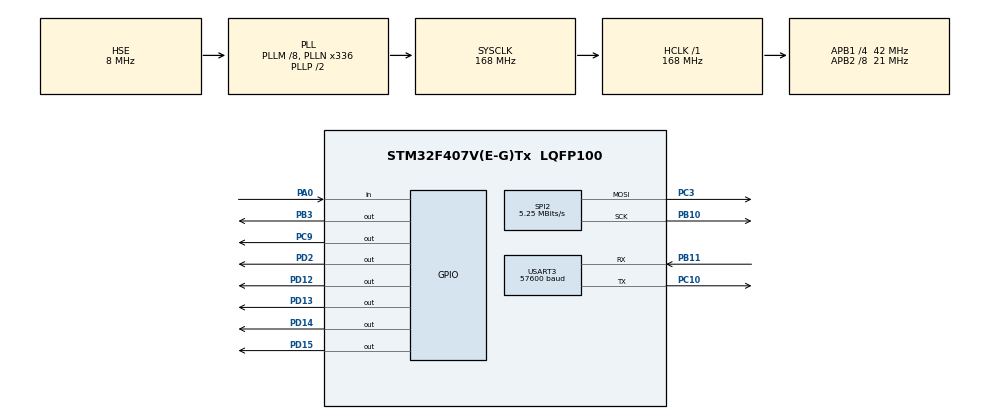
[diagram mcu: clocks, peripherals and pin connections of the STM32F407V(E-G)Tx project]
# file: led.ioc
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Mcu.Family=STM32F4
Mcu.Name=STM32F407V(E-G)Tx
Mcu.Package=LQFP100
NVIC.PriorityGroup=NVIC_PRIORITYGROUP_4
PA0-WKUP.Signal=GPIO_Input
PB10.Mode=TX_Only_Simplex_Unidirect_Master
PB10.Signal=SPI2_SCK
PB11.Mode=Asynchronous
PB11.Signal=USART3_RX
PB3.Signal=GPIO_Output
PC10.Mode=Asynchronous
PC10.Signal=USART3_TX
PC3.Mode=TX_Only_Simplex_Unidirect_Master
PC3.Signal=SPI2_MOSI
PC9.Signal=GPIO_Output
PD12.Signal=GPIO_Output
PD13.Signal=GPIO_Output
PD14.Signal=GPIO_Output
PD15.Signal=GPIO_Output
PD2.Signal=GPIO_Output
PH0-OSC_IN.Mode=HSE-External-Oscillator
PH0-OSC_IN.Signal=RCC_OSC_IN
PH1-OSC_OUT.Mode=HSE-External-Oscillator
PH1-OSC_OUT.Signal=RCC_OSC_OUT
ProjectManager.HeapSize=0x200
ProjectManager.StackSize=0x400
ProjectManager.TargetToolchain=MDK-ARM V4
RCC.48MHZClocksFreq_Value=48000000
RCC.AHBFreq_Value=168000000
RCC.APB1CLKDivider=RCC_HCLK_DIV4
RCC.APB1Freq_Value=42000000
RCC.APB1TimFreq_Value=84000000
RCC.APB2CLKDivider=RCC_HCLK_DIV8
RCC.APB2Freq_Value=21000000
RCC.APB2TimFreq_Value=42000000
RCC.CortexFreq_Value=168000000
RCC.HCLKFreq_Value=168000000
RCC.HSE_VALUE=8000000
RCC.HSI_VALUE=16000000
RCC.LSE_VALUE=32768
RCC.PLLM=8
RCC.PLLN=336
RCC.PLLQ=7
RCC.PLLSourceVirtual=RCC_PLLSOURCE_HSE
RCC.SYSCLKFreq_VALUE=168000000
RCC.SYSCLKSource=RCC_SYSCLKSOURCE_PLLCLK
RCC.VCOOutputFreq_Value=336000000
SPI2.BaudRatePrescaler=SPI_BAUDRATEPRESCALER_8
SPI2.CRCCalculation=SPI_CRCCALCULATION_DISABLE
SPI2.CalculateBaudRate=5.25 MBits/s
SPI2.Direction=SPI_DIRECTION_2LINES
SPI2.Mode=SPI_MODE_MASTER
SPI2.VirtualType=VM_MASTER
USART3.BaudRate=57600
USART3.VirtualMode=VM_ASYNC
board=led

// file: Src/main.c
/**
  ******************************************************************************
  * File Name          : main.c
  * Description        : Main program body
  ******************************************************************************
  ** This notice applies to any and all portions of this file
  * that are not between comment pairs USER CODE BEGIN and
  * USER CODE END. Other portions of this file, whether
  * inserted by the user or by software development tools
  * are owned by their respective copyright owners.
  *
  * COPYRIGHT(c) 2018 STMicroelectronics
  *
  * Redistribution and use in source and binary forms, with or without modification,
  * are permitted provided that the following conditions are met:
  *   1. Redistributions of source code must retain the above copyright notice,
  *      this list of conditions and the following disclaimer.
  *   2. Redistributions in binary form must reproduce the above copyright notice,
  *      this list of conditions and the following disclaimer in the documentation
  *      and/or other materials provided with the distribution.
  *   3. Neither the name of STMicroelectronics nor the names of its contributors
  *      may be used to endorse or promote products derived from this software
  *      without specific prior written permission.
  *
  * THIS SOFTWARE IS PROVIDED BY THE COPYRIGHT HOLDERS AND CONTRIBUTORS "AS IS"
  * AND ANY EXPRESS OR IMPLIED WARRANTIES, INCLUDING, BUT NOT LIMITED TO, THE
  * IMPLIED WARRANTIES OF MERCHANTABILITY AND FITNESS FOR A PARTICULAR PURPOSE ARE
  * DISCLAIMED. IN NO EVENT SHALL THE COPYRIGHT HOLDER OR CONTRIBUTORS BE LIABLE
  * FOR ANY DIRECT, INDIRECT, INCIDENTAL, SPECIAL, EXEMPLARY, OR CONSEQUENTIAL
  * DAMAGES (INCLUDING, BUT NOT LIMITED TO, PROCUREMENT OF SUBSTITUTE GOODS OR
  * SERVICES; LOSS OF USE, DATA, OR PROFITS; OR BUSINESS INTERRUPTION) HOWEVER
  * CAUSED AND ON ANY THEORY OF LIABILITY, WHETHER IN CONTRACT, STRICT LIABILITY,
  * OR TORT (INCLUDING NEGLIGENCE OR OTHERWISE) ARISING IN ANY WAY OUT OF THE USE
  * OF THIS SOFTWARE, EVEN IF ADVISED OF THE POSSIBILITY OF SUCH DAMAGE.
  *
  ******************************************************************************
  */
#include "main.h"
#include "stm32f4xx_hal.h"
#include "tm_stm32f4_pcd8544.h"
#include "my_function.h"

SPI_HandleTypeDef hspi2;

UART_HandleTypeDef huart3;

/* USER CODE BEGIN PV */
/* Private variables ---------------------------------------------------------*/

/* USER CODE END PV */

void SystemClock_Config(void);
static void MX_GPIO_Init(void);
static void MX_USART3_UART_Init(void);
static void MX_SPI2_Init(void);

/* USER CODE BEGIN PFP */
/* Private function prototypes -----------------------------------------------*/

/* USER CODE END PFP */

/* USER CODE BEGIN 0 */

struct GP {
	char tip[10];//GPS format
	float time;
	char sost;//reception status
	float dat;
	float lat;//latitude coordinates
  char naplat;//latitude direction
	float log;//longitude coordinates
  char naplog;//longitude direction
	float v;//travel speed
	float count;//number of satellites from which data is received
	float geom;//geomagnetic index
	float vis1;//height above ground
	char rvis1;//dimension of height
	float vis2;//height above sea level
	char rvis2;//dimension of height
};

//Record the remaining RMC data with a successful signal reception
void WriteRMCdata( char from[300])
{
  struct GP GPRMC;
	StringInFloat(GPRMC.lat,from,3);
	Output_Line(&GPRMC.naplat,from,4);
	StringInFloat(GPRMC.log,from,5);
	StringInFloat(GPRMC.naplog,from,6);
	StringInFloat(GPRMC.v, from,7);
	StringInFloat(GPRMC.dat,from,9);
}
//Record GGA data in the structure
void WriteGGAdata( char from[300],uint8_t comma)
{
	struct GP GPGGA;
	Output_Line(GPGGA.tip,from,comma);
	StringInFloat(GPGGA.time,from,comma+1);
	StringInFloat(GPGGA.lat,from,comma+2);
	Output_Line(&GPGGA.naplat,from,comma+3);
	StringInFloat(GPGGA.log,from,comma+4);
	Output_Line(&GPGGA.naplog,from,comma+5);
	StringInFloat(GPGGA.count,from,comma+7);
	StringInFloat(GPGGA.geom,from,comma+8);
	StringInFloat(GPGGA.vis1,from,comma+9);
	Output_Line(&GPGGA.rvis1,from,comma+10);
	StringInFloat(GPGGA.vis2,from,comma+11);
	StringInFloat(GPGGA.rvis2,from,comma+12);
}
/* USER CODE END 0 */

int main(void)
{

  /* USER CODE BEGIN 1 */
char data_GPS[300];
char time[20],late[20], log[20],v[20], dat[20], visota[20],visota2[20],count[20],dop[20],dop2[20];
uint16_t comma=0;
uint8_t counter_Button=0;
  /* USER CODE END 1 */

  /* MCU Configuration----------------------------------------------------------*/

  /* Reset of all peripherals, Initializes the Flash interface and the Systick. */
  HAL_Init();

  /* Configure the system clock */
  SystemClock_Config();

  /* Initialize all configured peripherals */
  MX_GPIO_Init();
  MX_USART3_UART_Init();
  MX_SPI2_Init();

  /* USER CODE BEGIN 2 */
	Initial_Inscription();
  /* USER CODE END 2 */

  /* Infinite loop */
  /* USER CODE BEGIN WHILE */
  while (1)
  {
		//Record GPS data in the array
    WriteGPSinMassiv(data_GPS);
		//Write the original RMC data to the structure
		struct GP GPRMC;
		Output_Line(GPRMC.tip,data_GPS,0);
		StringInFloat(GPRMC.time,data_GPS,1);
		Output_Line(&GPRMC.sost,data_GPS,2);
		if (GPRMC.sost=='V')
		{
			StringInFloat(GPRMC.dat,data_GPS,9);
		}
		else
		{
			//Record the remaining RMC data with a successful signal reception
			WriteRMCdata(data_GPS);
			//Search for a comma after which the GGA data begin
			struct GP GPGGA;
			comma = SearchCommaGGA(data_GPS);
			//Record GGA data in the structure
			WriteGGAdata(data_GPS, comma);
			//Writing necessary data to arrays for display
			WriteMasForLCD(data_GPS, late,log,v,dat,count,visota,visota2,comma);
		}
  /* USER CODE END WHILE */

  /* USER CODE BEGIN 3 */

		if (READ_BUTTON ==1)
		{
		  if (counter_Button<5){counter_Button++;}
			else
			{
				//writing data to flash memory if the button is long pressed
				WriteNewCoordin (late, log);
	      counter_Button=1;
			}
	  }
    if ((counter_Button==1)&(READ_BUTTON ==0))
		{
			//display if the button is pressed once
		  First_Button(late, log,visota,count, dop, dop2);
		}
		else if ((counter_Button==2)&(READ_BUTTON ==0))
		{
			//display if the button is pressed twice
			Second_Button (time, v, visota);
		}
		else if ((counter_Button==3)&(READ_BUTTON==0))
		{
			//display if the button is pressed three times
			 Theird_Button(dat);
			 counter_Button=0;
		}
	}
  /* USER CODE END 3 */

}

/** System Clock Configuration
*/
void SystemClock_Config(void)
{

  RCC_OscInitTypeDef RCC_OscInitStruct;
  RCC_ClkInitTypeDef RCC_ClkInitStruct;

    /**Configure the main internal regulator output voltage
    */
  __HAL_RCC_PWR_CLK_ENABLE();

  __HAL_PWR_VOLTAGESCALING_CONFIG(PWR_REGULATOR_VOLTAGE_SCALE1);

    /**Initializes the CPU, AHB and APB busses clocks
    */
  RCC_OscInitStruct.OscillatorType = RCC_OSCILLATORTYPE_HSE;
  RCC_OscInitStruct.HSEState = RCC_HSE_ON;
  RCC_OscInitStruct.PLL.PLLState = RCC_PLL_ON;
  RCC_OscInitStruct.PLL.PLLSource = RCC_PLLSOURCE_HSE;
  RCC_OscInitStruct.PLL.PLLM = 8;
  RCC_OscInitStruct.PLL.PLLN = 336;
  RCC_OscInitStruct.PLL.PLLP = RCC_PLLP_DIV2;
  RCC_OscInitStruct.PLL.PLLQ = 7;
  if (HAL_RCC_OscConfig(&RCC_OscInitStruct) != HAL_OK)
  {
    _Error_Handler(__FILE__, __LINE__);
  }

    /**Initializes the CPU, AHB and APB busses clocks
    */
  RCC_ClkInitStruct.ClockType = RCC_CLOCKTYPE_HCLK|RCC_CLOCKTYPE_SYSCLK
                              |RCC_CLOCKTYPE_PCLK1|RCC_CLOCKTYPE_PCLK2;
  RCC_ClkInitStruct.SYSCLKSource = RCC_SYSCLKSOURCE_PLLCLK;
  RCC_ClkInitStruct.AHBCLKDivider = RCC_SYSCLK_DIV1;
  RCC_ClkInitStruct.APB1CLKDivider = RCC_HCLK_DIV4;
  RCC_ClkInitStruct.APB2CLKDivider = RCC_HCLK_DIV8;

  if (HAL_RCC_ClockConfig(&RCC_ClkInitStruct, FLASH_LATENCY_5) != HAL_OK)
  {
    _Error_Handler(__FILE__, __LINE__);
  }

    /**Configure the Systick interrupt time
    */
  HAL_SYSTICK_Config(HAL_RCC_GetHCLKFreq()/1000);

    /**Configure the Systick
    */
  HAL_SYSTICK_CLKSourceConfig(SYSTICK_CLKSOURCE_HCLK);

  /* SysTick_IRQn interrupt configuration */
  HAL_NVIC_SetPriority(SysTick_IRQn, 0, 0);
}

/* SPI2 init function */
static void MX_SPI2_Init(void)
{

  hspi2.Instance = SPI2;
  hspi2.Init.Mode = SPI_MODE_MASTER;
  hspi2.Init.Direction = SPI_DIRECTION_2LINES;
  hspi2.Init.DataSize = SPI_DATASIZE_8BIT;
  hspi2.Init.CLKPolarity = SPI_POLARITY_LOW;
  hspi2.Init.CLKPhase = SPI_PHASE_1EDGE;
  hspi2.Init.NSS = SPI_NSS_SOFT;
  hspi2.Init.BaudRatePrescaler = SPI_BAUDRATEPRESCALER_8;
  hspi2.Init.FirstBit = SPI_FIRSTBIT_MSB;
  hspi2.Init.TIMode = SPI_TIMODE_DISABLE;
  hspi2.Init.CRCCalculation = SPI_CRCCALCULATION_DISABLE;
  hspi2.Init.CRCPolynomial = 10;
  if (HAL_SPI_Init(&hspi2) != HAL_OK)
  {
    _Error_Handler(__FILE__, __LINE__);
  }

}

/* USART3 init function */
static void MX_USART3_UART_Init(void)
{

  huart3.Instance = USART3;
  huart3.Init.BaudRate = 57600;
  huart3.Init.WordLength = UART_WORDLENGTH_8B;
  huart3.Init.StopBits = UART_STOPBITS_1;
  huart3.Init.Parity = UART_PARITY_NONE;
  huart3.Init.Mode = UART_MODE_TX_RX;
  huart3.Init.HwFlowCtl = UART_HWCONTROL_NONE;
  huart3.Init.OverSampling = UART_OVERSAMPLING_16;
  if (HAL_UART_Init(&huart3) != HAL_OK)
  {
    _Error_Handler(__FILE__, __LINE__);
  }

}

/** Configure pins as
        * Analog
        * Input
        * Output
        * EVENT_OUT
        * EXTI
*/
static void MX_GPIO_Init(void)
{

  GPIO_InitTypeDef GPIO_InitStruct;

  /* GPIO Ports Clock Enable */
  __HAL_RCC_GPIOH_CLK_ENABLE();
  __HAL_RCC_GPIOC_CLK_ENABLE();
  __HAL_RCC_GPIOA_CLK_ENABLE();
  __HAL_RCC_GPIOB_CLK_ENABLE();
  __HAL_RCC_GPIOD_CLK_ENABLE();

  /*Configure GPIO pin Output Level */
  HAL_GPIO_WritePin(GPIOD, GPIO_PIN_12|GPIO_PIN_13|GPIO_PIN_14|GPIO_PIN_15
                          |GPIO_PIN_2, GPIO_PIN_RESET);

  /*Configure GPIO pin Output Level */
  HAL_GPIO_WritePin(GPIOC, GPIO_PIN_9, GPIO_PIN_RESET);

  /*Configure GPIO pin Output Level */
  HAL_GPIO_WritePin(GPIOB, GPIO_PIN_3, GPIO_PIN_RESET);

  /*Configure GPIO pin : PA0 */
  GPIO_InitStruct.Pin = GPIO_PIN_0;
  GPIO_InitStruct.Mode = GPIO_MODE_INPUT;
  GPIO_InitStruct.Pull = GPIO_NOPULL;
  HAL_GPIO_Init(GPIOA, &GPIO_InitStruct);

  /*Configure GPIO pins : PD12 PD13 PD14 PD15
                           PD2 */
  GPIO_InitStruct.Pin = GPIO_PIN_12|GPIO_PIN_13|GPIO_PIN_14|GPIO_PIN_15
                          |GPIO_PIN_2;
  GPIO_InitStruct.Mode = GPIO_MODE_OUTPUT_PP;
  GPIO_InitStruct.Pull = GPIO_NOPULL;
  GPIO_InitStruct.Speed = GPIO_SPEED_FREQ_LOW;
  HAL_GPIO_Init(GPIOD, &GPIO_InitStruct);

  /*Configure GPIO pin : PC9 */
  GPIO_InitStruct.Pin = GPIO_PIN_9;
  GPIO_InitStruct.Mode = GPIO_MODE_OUTPUT_PP;
  GPIO_InitStruct.Pull = GPIO_NOPULL;
  GPIO_InitStruct.Speed = GPIO_SPEED_FREQ_LOW;
  HAL_GPIO_Init(GPIOC, &GPIO_InitStruct);

  /*Configure GPIO pin : PB3 */
  GPIO_InitStruct.Pin = GPIO_PIN_3;
  GPIO_InitStruct.Mode = GPIO_MODE_OUTPUT_PP;
  GPIO_InitStruct.Pull = GPIO_NOPULL;
  GPIO_InitStruct.Speed = GPIO_SPEED_FREQ_LOW;
  HAL_GPIO_Init(GPIOB, &GPIO_InitStruct);

}

void _Error_Handler(char * file, int line)
{
  while(1)
  {
  }
}

/************************ (C) COPYRIGHT STMicroelectronics *****END OF FILE****/
